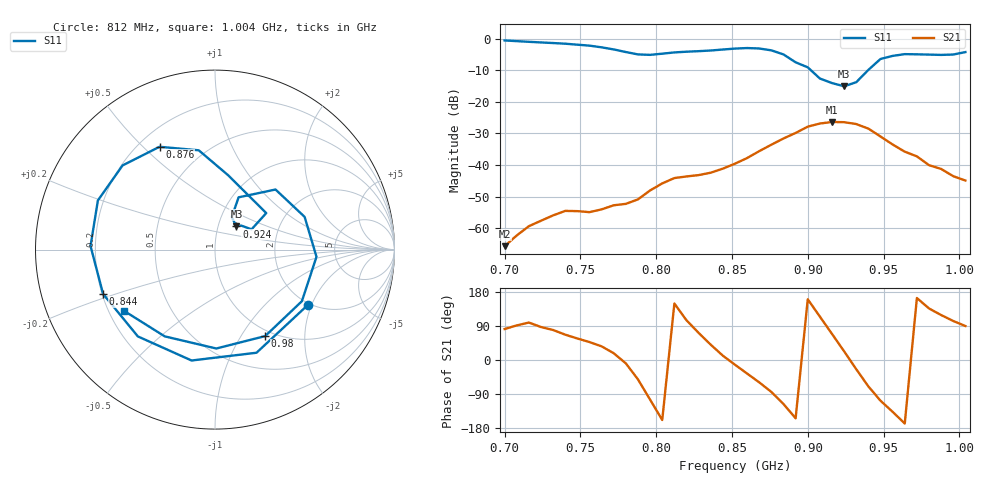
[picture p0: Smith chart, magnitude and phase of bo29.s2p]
# Hz S RI R 50
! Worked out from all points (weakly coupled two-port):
!   39 points, 700 MHz to 1.004 GHz, reference 50 ohm
!   highest |S21| = -26.40 dB at 916 MHz (marker M1); lowest = -65.7 dB at 700 MHz (marker M2)
!   lowest |S11| = -15.1 dB at 924 MHz (marker M3), VSWR 1.43, Z = 61.1 + j16.3 ohm
!   |S11| at or under -10 dB: 902 MHz to 939.8 MHz (37.79 MHz wide, 4.1 % of centre)
!   S12 and S22 are empty: the file has one direction only
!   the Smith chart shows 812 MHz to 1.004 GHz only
!   S11 on the Smith chart (normalised r, x): 812 MHz: 1.96, -1.89; 844 MHz: 0.20, -0.18; 876 MHz: 0.28, +0.56; 924 MHz: 1.22, +0.33; 980 MHz: 0.92, -1.28; 1.004 GHz: 0.26, -0.29
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7e8  0.7682 0.5297  7.54e-05 0.000513  0 0  0 0
7.24e8  0.8268 -0.2641  6.78e-05 0.00131  0 0  0 0
7.4e8  0.4407 -0.7023  0.000737 0.00172  0 0  0 0
7.56e8  -0.201 -0.746  0.00121 0.00132  0 0  0 0
7.72e8  -0.6478 -0.1822  0.00219 0.000705  0 0  0 0
7.8e8  -0.5659 0.2325  0.00239 -0.000375  0 0  0 0
7.88e8  -0.2128 0.5192  0.00179 -0.00223  0 0  0 0
7.96e8  0.263 0.4853  -0.001 -0.00382  0 0  0 0
8.04e8  0.561 0.1318  -0.00475 -0.00188  0 0  0 0
8.12e8  0.5196 -0.3064  -0.00531 0.00319  0 0  0 0
8.28e8  -0.1305 -0.6179  0.00218 0.00655  0 0  0 0
8.44e8  -0.6234 -0.2472  0.00857 0.00172  0 0  0 0
8.52e8  -0.6935 0.0199  0.0102 -0.00227  0 0  0 0
8.76e8  -0.3088 0.5729  0.00205 -0.0208  0 0  0 0
9e8  0.2856 0.2035  -0.038 0.0137  0 0  0 0
9.08e8  0.2039 0.1131  -0.0188 0.0411  0 0  0 0
9.16e8  0.145 0.134  0.0173 0.0446  0 0  0 0
9.24e8  0.1192 0.1291  0.0438 0.0184  0 0  0 0
9.4e8  0.1315 0.2912  0.013 -0.0352  0 0  0 0
9.56e8  0.4993 0.1824  -0.0153 -0.0144  0 0  0 0
9.8e8  0.2795 -0.4819  -0.00713 0.00689  0 0  0 0
1.004e9  -0.5057 -0.3419  2.94e-05 0.00567  0 0  0 0
